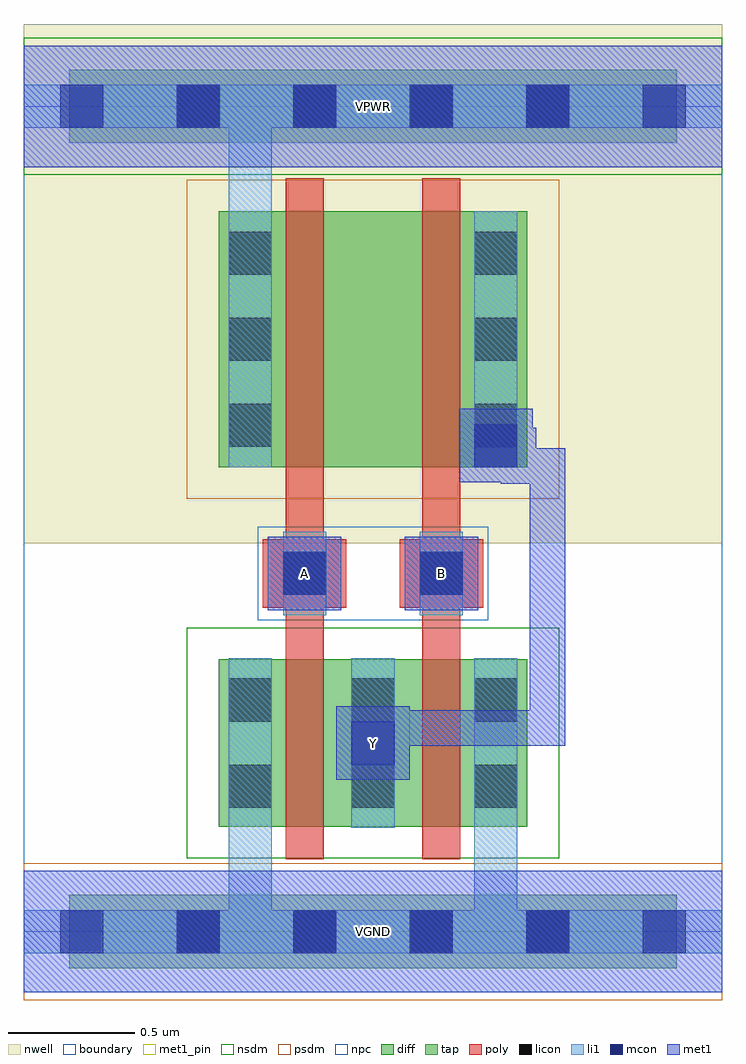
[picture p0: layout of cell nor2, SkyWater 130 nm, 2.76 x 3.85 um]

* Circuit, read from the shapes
.subckt nor2 A B VGND VPWR Y
XM1 Y A VGND VGND sky130_fd_pr__nfet_01v8 w=0.66 l=0.15
XM2 VGND B Y VGND sky130_fd_pr__nfet_01v8 w=0.66 l=0.15
XM3 n1 A VPWR VPWR sky130_fd_pr__pfet_01v8 w=1.01 l=0.15
XM4 Y B n1 VPWR sky130_fd_pr__pfet_01v8 w=1.01 l=0.15
.ends

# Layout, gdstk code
import gdstk
lib = gdstk.Library(unit=1e-6, precision=1e-09)
def R(c, l, rs):  # rectangles x0, y0, x1, y1
    for r in rs: c.add(gdstk.rectangle(r[:2], r[2:], *l))
def A(c, l, x, y, w, h, nx, ny, dx, dy):  # array of equal rectangles
    R(c, l, [(x+i*dx, y+j*dy, x+i*dx+w, y+j*dy+h) for i in range(nx) for j in range(ny)])
nwell = (64, 20)
diff = (65, 20)
tap = (65, 44)
poly = (66, 20)
licon = (66, 44)
li1 = (67, 20)
mcon = (67, 44)
met1_pin = (68, 16)
met1 = (68, 20)
nsdm = (93, 44)
psdm = (94, 20)
npc = (95, 20)
boundary = (235, 4)

nor2 = lib.new_cell('nor2')
R(nor2, nwell, [(0,1.535,2.76,3.585)])
R(nor2, diff, [(0.77,0.415,1.99,1.075), (0.77,1.835,1.99,2.845)])
R(nor2, tap, [(0.18,-0.145,2.58,0.145), (0.18,3.115,2.58,3.405)])
R(nor2, poly, [(1.035,0.285,1.185,2.975), (1.575,0.285,1.725,2.975), (0.945,1.28,1.275,1.55), (1.485,1.28,1.815,1.55)])
A(nor2, licon, 0.605, -0.085, 0.17, 0.17, 4, 2, 0.46, 3.26)
A(nor2, licon, 0.81, 0.49, 0.17, 0.17, 3, 2, 0.485, 0.34)
A(nor2, licon, 0.81, 1.915, 0.17, 0.17, 1, 3, 0, 0.34)
A(nor2, licon, 1.78, 1.915, 0.17, 0.17, 1, 3, 0, 0.34)
R(nor2, licon, [(1.025,1.33,1.195,1.5), (1.565,1.33,1.735,1.5)])
A(nor2, li1, 0.81, 0.41, 0.17, 0.67, 3, 1, 0.485, 0)
R(nor2, li1, [(0,-0.085,2.76,0.085), (0.81,-0.085,0.98,1.08), (1.78,-0.085,1.95,1.08), (1.025,1.25,1.195,1.58), (1.565,1.25,1.735,1.58), (0.81,1.835,0.98,2.845), (0.81,1.835,0.98,3.345), (1.78,1.835,1.95,2.845), (0,3.175,2.76,3.345)])
A(nor2, mcon, 0.145, -0.085, 0.17, 0.17, 6, 2, 0.46, 3.26)
R(nor2, mcon, [(1.295,0.66,1.465,0.83), (1.025,1.33,1.195,1.5), (1.565,1.33,1.735,1.5), (1.78,1.835,1.95,2.005)])
R(nor2, met1_pin, [(0,-0.24,2.76,0.24), (1.235,0.6,1.525,0.89), (0.965,1.27,1.255,1.56), (1.505,1.27,1.795,1.56), (0,3.02,2.76,3.5)])
R(nor2, met1, [(0,-0.24,2.76,0.24), (1.235,0.6,1.525,0.89), (1.31,0.735,1.45,0.875), (1.31,0.735,2.14,0.875), (2,0.735,2.14,1.91), (0.965,1.27,1.255,1.56), (1.505,1.27,1.795,1.56), (1.885,1.77,2.025,1.99), (1.885,1.77,2.14,1.91), (1.72,1.775,2.01,2.065), (1.795,1.85,2.025,1.99), (0,3.02,2.76,3.5)])
R(nor2, nsdm, [(0.645,0.29,2.115,1.2), (0,2.99,2.76,3.53)])
R(nor2, psdm, [(0,-0.27,2.76,0.27), (0.645,1.71,2.115,2.97)])
R(nor2, npc, [(0.925,1.23,1.835,1.6)])
R(nor2, boundary, [(0,0,2.76,3.26)])
nor2.add(gdstk.Label('A', (1.11,1.415), layer=68, texttype=5))
nor2.add(gdstk.Label('B', (1.65,1.415), layer=68, texttype=5))
nor2.add(gdstk.Label('Y', (1.38,0.745), layer=68, texttype=5))
nor2.add(gdstk.Label('VPWR', (1.38,3.26), layer=68, texttype=5))
nor2.add(gdstk.Label('VGND', (1.38,0), layer=68, texttype=5))
nor2.add(gdstk.Label('A', (1.11,1.415), layer=68, texttype=16))
nor2.add(gdstk.Label('B', (1.65,1.415), layer=68, texttype=16))
nor2.add(gdstk.Label('Y', (1.38,0.745), layer=68, texttype=16))
nor2.add(gdstk.Label('VPWR', (1.38,3.26), layer=68, texttype=16))
nor2.add(gdstk.Label('VGND', (1.38,0), layer=68, texttype=16))

lib.write_gds('nor2.gds')
